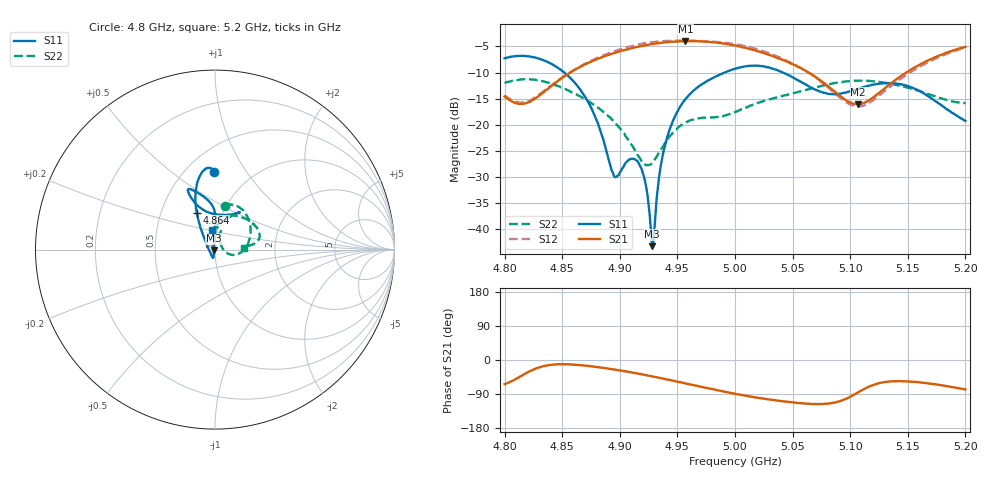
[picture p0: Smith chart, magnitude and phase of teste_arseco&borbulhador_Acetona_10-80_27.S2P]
! Network Analyzer HP8722D
! Hewlett-Packard
! Data name: Linha & Wilkinson
! Saver's name: Rodrigo Anjos
! Comments: Teste da utilização de aquisição
! continua pelo VNA HP8722D
! Time and date: 25/4/2025 15:29
!  Frequency  S11  S21  S12  S22
# HZ  S  MA R 50
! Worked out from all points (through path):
!   401 points, 4.8 GHz to 5.2 GHz, reference 50 ohm
!   highest |S21| = -3.95 dB at 4.957 GHz (marker M1); lowest = -16.1 dB at 5.107 GHz (marker M2)
!   lowest |S11| = -43.4 dB at 4.928 GHz (marker M3), VSWR 1.01, Z = 49.4 - j0.286 ohm
!   |S11| at or under -10 dB: 4.852 GHz to 4.991 GHz (139.4 MHz wide, 2.83 % of centre); 5.042 GHz to end of sweep
!   |S22| runs from -27.8 to -11.3 dB; largest |S21 - S12| = 1.2
!   S11 on the Smith chart (normalised r, x): 4.8 GHz: 0.68, +0.73; 4.864 GHz: 0.75, +0.33; 5.2 GHz: 0.94, +0.20
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4.8e9  0.4331 90.4  0.186 -63.7  0.1911 69.7  0.2495 77.0
4.82e9  0.4522 96.6  0.1624 -32.4  0.1674 98.5  0.2719 61.6
4.843e9  0.3699 106.0  0.2462 -12.0  0.25 118.8  0.243 36.5
4.864e9  0.2295 116.4  0.3508 -13.0  0.3539 120.9  0.1901 12.0
4.867e9  0.2064 118.0  0.365 -14.1  0.3691 120.6  0.1828 8.5
4.88e9  0.1088 128.6  0.4249 -18.5  0.4349 118.2  0.1484 -5.7
4.895e9  0.03193 -170.4  0.4858 -24.9  0.5034 113.5  0.107 -16.3
4.909e9  0.04657 -105.9  0.5373 -32.1  0.5627 107.6  0.06664 -14.9
4.917e9  0.04121 -101.3  0.5633 -36.6  0.5906 103.5  0.04803 -2.2
4.922e9  0.02825 -103.8  0.5792 -39.3  0.6041 100.7  0.04135 15.8
4.928e9  0.006788 -154.7  0.5925 -43.1  0.6205 96.9  0.04266 41.7
4.93e9  0.009656 128.7  0.5981 -44.5  0.6215 95.6  0.04553 49.0
4.934e9  0.03075 98.2  0.6048 -46.9  0.63 93.2  0.05366 58.8
4.943e9  0.08817 90.2  0.6205 -52.6  0.6384 87.3  0.07635 69.5
4.957e9  0.1759 88.9  0.6347 -61.6  0.6395 78.4  0.1047 71.8
5e9  0.3435 109.0  0.5748 -89.1  0.5943 50.7  0.1319 88.8
5.03e9  0.3517 115.0  0.4658 -104.3  0.4815 33.7  0.1748 85.5
5.067e9  0.2242 104.9  0.3017 -115.9  0.2983 23.5  0.2225 57.2
5.107e9  0.2214 63.4  0.1568 -85.1  0.1485 57.9  0.2637 24.2
5.134e9  0.25 56.6  0.2419 -56.7  0.2275 88.7  0.2479 12.4
5.169e9  0.1837 69.2  0.4199 -62.2  0.4036 84.7  0.1942 6.8
5.2e9  0.1085 100.3  0.5567 -77.6  0.5461 70.0  0.1604 3.9
